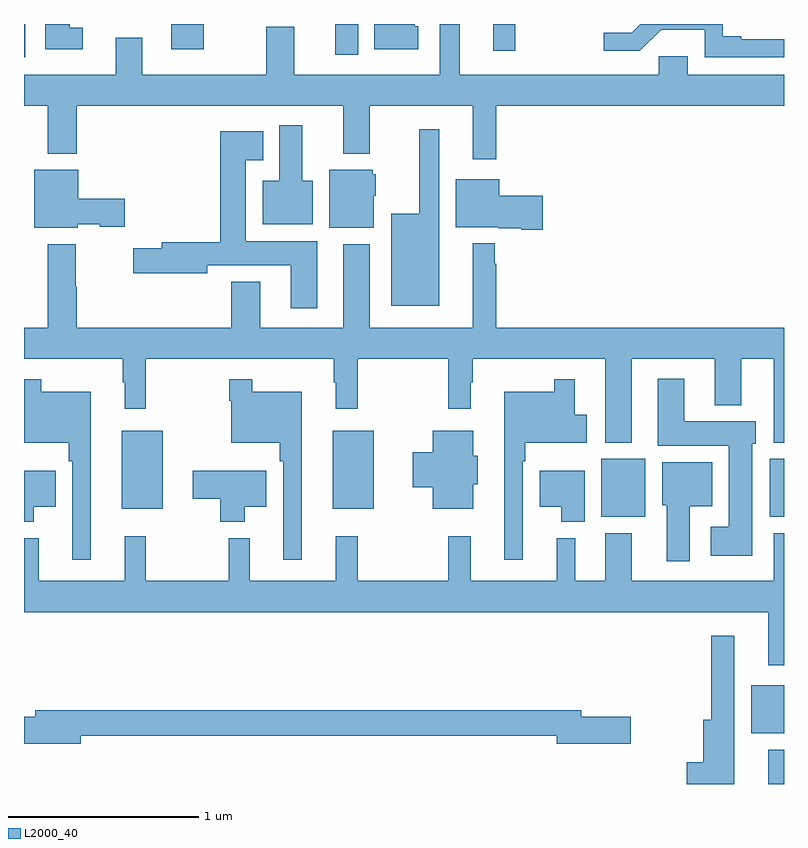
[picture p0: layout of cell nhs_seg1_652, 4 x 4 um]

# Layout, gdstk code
import gdstk
lib = gdstk.Library(unit=1e-6, precision=1e-09)
def R(c, l, rs):  # rectangles x0, y0, x1, y1
    for r in rs: c.add(gdstk.rectangle(r[:2], r[2:], *l))
def P(c, l, *ps):  # polygons
    for p in ps: c.add(gdstk.Polygon(p, *l))
L2000_40 = (2000, 40)

nhs_seg1_652 = lib.new_cell('nhs_seg1_652')
R(nhs_seg1_652, L2000_40, [(150.917,512.199,151,512.38), (150.827,512.465,151,512.719), (150.038,513.605,150.271,513.91), (150.926,513.605,151,513.91), (147.515,513.647,147.73,514.057), (148.625,513.647,148.84,514.057), (147,516.024,147.006,516.199), (148.637,516.036,148.759,516.199), (149.471,516.057,149.585,516.199), (147.774,516.066,147.946,516.199)])
P(nhs_seg1_652, L2000_40, [(149.485,515.768),(151,515.768),(151,515.932),(150.493,515.932),(150.493,516.03),(150.342,516.03),(150.342,515.932),(149.293,515.932),(149.293,516.199),(149.189,516.199),(149.189,515.932),(148.423,515.932),(148.423,516.184),(148.276,516.184),(148.276,515.932),(147.622,515.932),(147.622,516.127),(147.482,516.127),(147.482,515.932),(147,515.932),(147,515.768),(147.125,515.768),(147.125,515.516),(147.278,515.516),(147.278,515.768),(148.679,515.768),(148.679,515.516),(148.819,515.516),(148.819,515.768),(149.363,515.768),(149.363,515.487),(149.485,515.487)],
  [(149.074,516.186),(149.056,516.186),(149.056,516.199),(148.844,516.199),(148.844,516.065),(149.074,516.065)],
  [(151,516.12),(150.775,516.12),(150.775,516.134),(150.678,516.134),(150.678,516.199),(150.244,516.199),(150.199,516.154),(150.051,516.154),(150.051,516.057),(150.24,516.057),(150.353,516.17),(150.582,516.17),(150.582,516.024),(151,516.024)],
  [(147.31,516.18),(147.241,516.18),(147.241,516.199),(147.113,516.199),(147.113,516.065),(147.31,516.065)],
  [(148.519,515.374),(148.465,515.374),(148.465,515.665),(148.343,515.665),(148.343,515.374),(148.256,515.374),(148.256,515.144),(148.519,515.144)],
  [(149.185,515.644),(149.081,515.644),(149.081,515.2),(148.934,515.2),(148.934,514.715),(149.185,514.715)],
  [(148.543,515.056),(148.168,515.056),(148.168,515.483),(148.258,515.483),(148.258,515.635),(148.034,515.635),(148.034,515.051),(147.725,515.051),(147.725,515.02),(147.576,515.02),(147.576,514.886),(147.964,514.886),(147.964,514.928),(148.403,514.928),(148.403,514.704),(148.543,514.704)],
  [(147.282,515.144),(147.399,515.144),(147.399,515.132),(147.529,515.132),(147.529,515.279),(147.286,515.279),(147.286,515.431),(147.053,515.431),(147.053,515.126),(147.282,515.126)],
  [(148.84,515.295),(148.852,515.295),(148.852,515.409),(148.836,515.409),(148.836,515.431),(148.607,515.431),(148.607,515.126),(148.84,515.126)],
  [(149.731,515.295),(149.5,515.295),(149.5,515.383),(149.273,515.383),(149.273,515.129),(149.496,515.129),(149.496,515.123),(149.618,515.123),(149.618,515.117),(149.731,515.117)],
  [(150.199,514.436),(150.635,514.436),(150.635,514.193),(150.775,514.193),(150.775,514.436),(150.947,514.436),(150.947,513.995),(151,513.995),(151,514.6),(149.485,514.6),(149.485,514.937),(149.477,514.937),(149.477,515.044),(149.363,515.044),(149.363,514.6),(148.819,514.6),(148.819,515.041),(148.679,515.041),(148.679,514.6),(148.243,514.6),(148.243,514.843),(148.091,514.843),(148.091,514.6),(147.278,514.6),(147.278,514.815),(147.273,514.815),(147.273,515.041),(147.125,515.041),(147.125,514.6),(147,514.6),(147,514.436),(147.519,514.436),(147.519,514.313),(147.53,514.313),(147.53,514.173),(147.64,514.173),(147.64,514.436),(148.629,514.436),(148.629,514.313),(148.64,514.313),(148.64,514.173),(148.757,514.173),(148.757,514.436),(149.233,514.436),(149.233,514.173),(149.35,514.173),(149.35,514.313),(149.362,514.313),(149.362,514.436),(150.059,514.436),(150.059,513.995),(150.199,513.995)],
  [(150.832,513.99),(150.85,513.99),(150.85,514.108),(150.475,514.108),(150.475,514.333),(150.335,514.333),(150.335,513.98),(150.71,513.98),(150.71,513.553),(150.615,513.553),(150.615,513.401),(150.832,513.401)],
  [(148.462,514.264),(148.201,514.264),(148.201,514.33),(148.08,514.33),(148.08,514.217),(148.092,514.217),(148.092,513.995),(148.345,513.995),(148.345,513.899),(148.365,513.899),(148.365,513.378),(148.462,513.378)],
  [(149.625,513.899),(149.638,513.899),(149.638,513.995),(149.962,513.995),(149.962,514.143),(149.899,514.143),(149.899,514.33),(149.79,514.33),(149.79,514.264),(149.528,514.264),(149.528,513.378),(149.625,513.378)],
  [(147.352,514.264),(147.091,514.264),(147.091,514.33),(147,514.33),(147,513.995),(147.235,513.995),(147.235,513.899),(147.255,513.899),(147.255,513.378),(147.352,513.378)],
  [(149.365,513.777),(149.389,513.777),(149.389,513.927),(149.365,513.927),(149.365,514.057),(149.15,514.057),(149.15,513.944),(149.045,513.944),(149.045,513.761),(149.15,513.761),(149.15,513.647),(149.365,513.647)],
  [(150.505,513.662),(150.622,513.662),(150.622,513.892),(150.359,513.892),(150.359,513.666),(150.383,513.666),(150.383,513.371),(150.505,513.371)],
  [(149.95,513.847),(149.714,513.847),(149.714,513.659),(149.828,513.659),(149.828,513.578),(149.95,513.578)],
  [(148.162,513.659),(148.276,513.659),(148.276,513.847),(147.888,513.847),(147.888,513.7),(148.033,513.7),(148.033,513.578),(148.162,513.578)],
  [(147.052,513.659),(147.166,513.659),(147.166,513.847),(147,513.847),(147,513.578),(147.052,513.578)],
  [(151,513.52),(150.947,513.52),(150.947,513.268),(150.199,513.268),(150.199,513.52),(150.059,513.52),(150.059,513.268),(149.902,513.268),(149.902,513.493),(149.804,513.493),(149.804,513.268),(149.351,513.268),(149.351,513.502),(149.233,513.502),(149.233,513.268),(148.757,513.268),(148.757,513.502),(148.64,513.502),(148.64,513.268),(148.187,513.268),(148.187,513.493),(148.077,513.493),(148.077,513.268),(147.64,513.268),(147.64,513.502),(147.53,513.502),(147.53,513.268),(147.077,513.268),(147.077,513.493),(147,513.493),(147,513.104),(150.917,513.104),(150.917,512.823),(151,512.823)],
  [(150.739,512.98),(150.618,512.98),(150.618,512.536),(150.574,512.536),(150.574,512.314),(150.488,512.314),(150.488,512.199),(150.739,512.199)],
  [(147.298,512.452),(149.804,512.452),(149.804,512.41),(150.193,512.41),(150.193,512.552),(149.932,512.552),(149.932,512.588),(147.059,512.588),(147.059,512.552),(147,512.552),(147,512.41),(147.298,512.41)])

lib.write_gds('nhs_seg1_652.gds')
